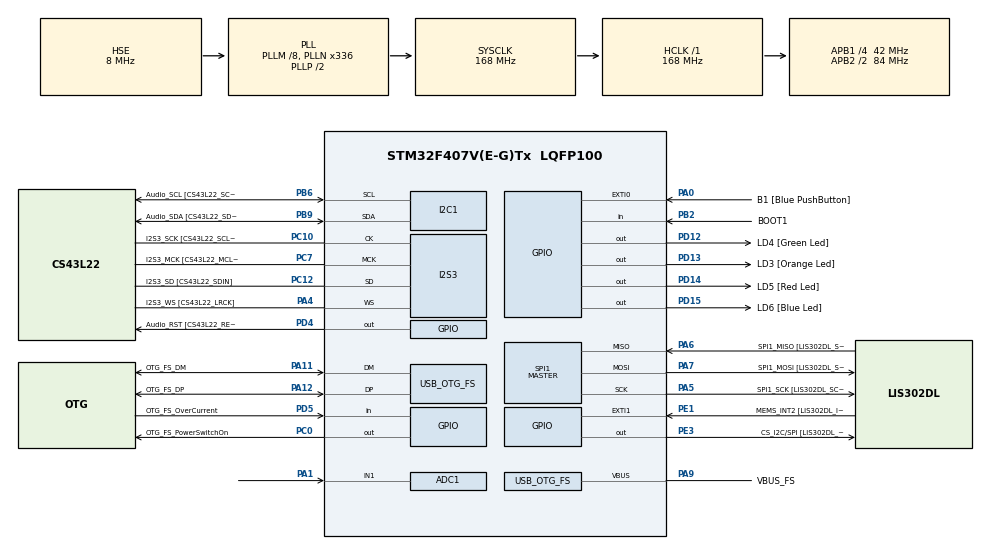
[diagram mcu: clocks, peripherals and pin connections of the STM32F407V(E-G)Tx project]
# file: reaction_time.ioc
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ADC1.Channel-0\#ChannelRegularConversion=ADC_CHANNEL_1
ADC1.NbrOfConversionFlag=1
ADC1.Rank-0\#ChannelRegularConversion=1
ADC1.SamplingTime-0\#ChannelRegularConversion=ADC_SAMPLETIME_3CYCLES
ADC1.master=1
I2S3.AudioFreq-Half_Duplex_Master=I2S_AUDIOFREQ_96K
I2S3.ErrorAudioFreq=-2.34 %
I2S3.ErrorAudioFreq-Half_Duplex_Master=0.8 %
I2S3.FullDuplexMode=I2S_FULLDUPLEXMODE_DISABLE
I2S3.Instance=SPI$Index
I2S3.RealAudioFreq=93.75 KHz
I2S3.RealAudioFreq-Half_Duplex_Master=96.774 KHz
I2S3.VirtualMode=I2S_MODE_MASTER
Mcu.Family=STM32F4
Mcu.Name=STM32F407V(E-G)Tx
Mcu.Package=LQFP100
NVIC.EXTI0_IRQn=true\:0\:0\:false\:false\:true\:true\:true\:true
NVIC.OTG_FS_IRQn=true\:0\:0\:false\:false\:true\:true\:true\:true
NVIC.PriorityGroup=NVIC_PRIORITYGROUP_0
PA0-WKUP.GPIO_Label=B1 [Blue PushButton]
PA0-WKUP.GPIO_ModeDefaultEXTI=GPIO_MODE_IT_RISING
PA0-WKUP.GPIO_PuPd=GPIO_NOPULL
PA0-WKUP.Signal=GPXTI0
PA1.Signal=ADCx_IN1
PA10.GPIO_Label=OTG_FS_ID
PA10.GPIO_Mode=GPIO_MODE_AF_PP
PA10.GPIO_PuPd=GPIO_NOPULL
PA10.GPIO_Speed=GPIO_SPEED_FREQ_LOW
PA10.Signal=USB_OTG_FS_ID
PA11.GPIO_Label=OTG_FS_DM
PA11.GPIO_Mode=GPIO_MODE_AF_PP
PA11.GPIO_PuPd=GPIO_NOPULL
PA11.GPIO_Speed=GPIO_SPEED_FREQ_LOW
PA11.Mode=Host_Only
PA11.Signal=USB_OTG_FS_DM
PA12.GPIO_Label=OTG_FS_DP
PA12.GPIO_Mode=GPIO_MODE_AF_PP
PA12.GPIO_PuPd=GPIO_NOPULL
PA12.GPIO_Speed=GPIO_SPEED_FREQ_LOW
PA12.Mode=Host_Only
PA12.Signal=USB_OTG_FS_DP
PA13.GPIO_Label=SWDIO
PA13.Mode=Serial_Wire
PA13.Signal=SYS_JTMS-SWDIO
PA14.GPIO_Label=SWCLK
PA14.Mode=Serial_Wire
PA14.Signal=SYS_JTCK-SWCLK
PA4.GPIO_Label=I2S3_WS [CS43L22_LRCK]
PA4.GPIO_Mode=GPIO_MODE_AF_PP
PA4.GPIO_PuPd=GPIO_NOPULL
PA4.GPIO_Speed=GPIO_SPEED_FREQ_LOW
PA4.Mode=Half_Duplex_Master
PA4.Signal=I2S3_WS
PA5.GPIO_Label=SPI1_SCK [LIS302DL_SCL/SPC]
PA5.GPIO_Mode=GPIO_MODE_AF_PP
PA5.GPIO_PuPd=GPIO_NOPULL
PA5.GPIO_Speed=GPIO_SPEED_FREQ_LOW
PA5.Mode=Full_Duplex_Master
PA5.Signal=SPI1_SCK
PA6.GPIO_Label=SPI1_MISO [LIS302DL_SDO]
PA6.GPIO_Mode=GPIO_MODE_AF_PP
PA6.GPIO_PuPd=GPIO_NOPULL
PA6.GPIO_Speed=GPIO_SPEED_FREQ_LOW
PA6.Mode=Full_Duplex_Master
PA6.Signal=SPI1_MISO
PA7.GPIO_Label=SPI1_MOSI [LIS302DL_SDA/SDI/SDO]
PA7.GPIO_Mode=GPIO_MODE_AF_PP
PA7.GPIO_PuPd=GPIO_NOPULL
PA7.GPIO_Speed=GPIO_SPEED_FREQ_LOW
PA7.Mode=Full_Duplex_Master
PA7.Signal=SPI1_MOSI
PA9.GPIO_Label=VBUS_FS
PA9.GPIO_Mode=GPIO_MODE_INPUT
PA9.GPIO_PuPd=GPIO_NOPULL
PA9.Mode=Activate_VBUS
PA9.Signal=USB_OTG_FS_VBUS
PB10.GPIO_Label=CLK_IN [MP45DT02_CLK]
PB10.GPIO_Mode=GPIO_MODE_AF_PP
PB10.GPIO_PuPd=GPIO_NOPULL
PB10.GPIO_Speed=GPIO_SPEED_FREQ_LOW
PB10.Signal=I2S2_CK
PB2.GPIO_Label=BOOT1
PB2.GPIO_Mode=GPIO_MODE_INPUT
PB2.GPIO_PuPd=GPIO_NOPULL
PB2.Signal=GPIO_Input
PB3.GPIO_Label=SWO
PB3.Signal=SYS_JTDO-SWO
PB6.GPIO_Label=Audio_SCL [CS43L22_SCL]
PB6.GPIO_Mode=GPIO_MODE_AF_OD
PB6.GPIO_Pu=GPIO_PULLUP
PB6.GPIO_PuPd=GPIO_NOPULL
PB6.GPIO_Speed=GPIO_SPEED_FREQ_LOW
PB6.Mode=I2C
PB6.Signal=I2C1_SCL
PB9.GPIO_Label=Audio_SDA [CS43L22_SDA]
PB9.GPIO_Mode=GPIO_MODE_AF_OD
PB9.GPIO_Pu=GPIO_PULLUP
PB9.GPIO_PuPd=GPIO_NOPULL
PB9.GPIO_Speed=GPIO_SPEED_FREQ_LOW
PB9.Mode=I2C
PB9.Signal=I2C1_SDA
PC0.GPIO_Label=OTG_FS_PowerSwitchOn
PC0.GPIO_PuPd=GPIO_NOPULL
PC0.GPIO_Speed=GPIO_SPEED_FREQ_LOW
PC0.PinState=GPIO_PIN_SET
PC0.Signal=GPIO_Output
PC10.GPIO_Label=I2S3_SCK [CS43L22_SCLK]
PC10.GPIO_Mode=GPIO_MODE_AF_PP
PC10.GPIO_PuPd=GPIO_NOPULL
PC10.GPIO_Speed=GPIO_SPEED_FREQ_LOW
PC10.Mode=Half_Duplex_Master
PC10.Signal=I2S3_CK
PC12.GPIO_Label=I2S3_SD [CS43L22_SDIN]
PC12.GPIO_Mode=GPIO_MODE_AF_PP
PC12.GPIO_PuPd=GPIO_NOPULL
PC12.GPIO_Speed=GPIO_SPEED_FREQ_LOW
PC12.Mode=Half_Duplex_Master
PC12.Signal=I2S3_SD
PC14-OSC32_IN.GPIO_Label=PC14-OSC32_IN
PC14-OSC32_IN.Mode=LSE-External-Oscillator
PC14-OSC32_IN.Signal=RCC_OSC32_IN
PC15-OSC32_OUT.GPIO_Label=PC15-OSC32_OUT
PC15-OSC32_OUT.Mode=LSE-External-Oscillator
PC15-OSC32_OUT.Signal=RCC_OSC32_OUT
PC3.GPIO_Label=PDM_OUT [MP45DT02_DOUT]
PC3.GPIO_Mode=GPIO_MODE_AF_PP
PC3.GPIO_PuPd=GPIO_NOPULL
PC3.GPIO_Speed=GPIO_SPEED_FREQ_LOW
PC3.Signal=I2S2_SD
PC7.GPIO_Label=I2S3_MCK [CS43L22_MCLK]
PC7.GPIO_Mode=GPIO_MODE_AF_PP
PC7.GPIO_PuPd=GPIO_NOPULL
PC7.GPIO_Speed=GPIO_SPEED_FREQ_LOW
PC7.Mode=Master_Clock_Activated
PC7.Signal=I2S3_MCK
PD12.GPIO_Label=LD4 [Green Led]
PD12.GPIO_PuPd=GPIO_NOPULL
PD12.GPIO_Speed=GPIO_SPEED_FREQ_LOW
PD12.Signal=GPIO_Output
PD13.GPIO_Label=LD3 [Orange Led]
PD13.GPIO_PuPd=GPIO_NOPULL
PD13.GPIO_Speed=GPIO_SPEED_FREQ_LOW
PD13.Signal=GPIO_Output
PD14.GPIO_Label=LD5 [Red Led]
PD14.GPIO_PuPd=GPIO_NOPULL
PD14.GPIO_Speed=GPIO_SPEED_FREQ_LOW
PD14.Signal=GPIO_Output
PD15.GPIO_Label=LD6 [Blue Led]
PD15.GPIO_PuPd=GPIO_NOPULL
PD15.GPIO_Speed=GPIO_SPEED_FREQ_LOW
PD15.Signal=GPIO_Output
PD4.GPIO_Label=Audio_RST [CS43L22_RESET]
PD4.GPIO_PuPd=GPIO_NOPULL
PD4.GPIO_Speed=GPIO_SPEED_FREQ_LOW
PD4.Signal=GPIO_Output
PD5.GPIO_Label=OTG_FS_OverCurrent
PD5.GPIO_Mode=GPIO_MODE_INPUT
PD5.GPIO_PuPd=GPIO_NOPULL
PD5.Signal=GPIO_Input
PE1.GPIO_Label=MEMS_INT2 [LIS302DL_INT2]
PE1.GPIO_ModeDefaultEXTI=GPIO_MODE_EVT_RISING
PE1.GPIO_PuPd=GPIO_NOPULL
PE1.Signal=GPXTI1
PE3.GPIO_Label=CS_I2C/SPI [LIS302DL_CS_I2C/SPI]
PE3.GPIO_PuPd=GPIO_NOPULL
PE3.GPIO_Speed=GPIO_SPEED_FREQ_LOW
PE3.Signal=GPIO_Output
PH0-OSC_IN.GPIO_Label=PH0-OSC_IN
PH0-OSC_IN.Mode=HSE-External-Oscillator
PH0-OSC_IN.Signal=RCC_OSC_IN
PH1-OSC_OUT.GPIO_Label=PH1-OSC_OUT
PH1-OSC_OUT.Mode=HSE-External-Oscillator
PH1-OSC_OUT.Signal=RCC_OSC_OUT
ProjectManager.HeapSize=0x200
ProjectManager.StackSize=0x400
ProjectManager.TargetToolchain=STM32CubeIDE
RCC.48MHZClocksFreq_Value=48000000
RCC.AHBFreq_Value=168000000
RCC.APB1CLKDivider=RCC_HCLK_DIV4
RCC.APB1Freq_Value=42000000
RCC.APB1TimFreq_Value=84000000
RCC.APB2CLKDivider=RCC_HCLK_DIV2
RCC.APB2Freq_Value=84000000
RCC.APB2TimFreq_Value=168000000
RCC.CortexFreq_Value=168000000
RCC.HCLKFreq_Value=168000000
RCC.HSE_VALUE=8000000
RCC.HSI_VALUE=16000000
RCC.PLLM=8
RCC.PLLN=336
RCC.PLLQ=7
RCC.SYSCLKFreq_VALUE=168000000
RCC.SYSCLKSource=RCC_SYSCLKSOURCE_PLLCLK
RCC.VCOOutputFreq_Value=336000000
SH.ADCx_IN1.0=ADC1_IN1,IN1
SPI1.BaudRatePrescaler-Full_Duplex_Master=SPI_BAUDRATEPRESCALER_2
SPI1.CalculateBaudRate-Full_Duplex_Master=42.0 MBits/s
SPI1.Direction=SPI_DIRECTION_2LINES
SPI1.Mode=SPI_MODE_MASTER
SPI1.Mode-Full_Duplex_Master=SPI_MODE_MASTER
SPI1.VirtualType=VM_MASTER
USB_HOST.BSP.number=1
USB_HOST.USBH_HandleTypeDef-CDC_FS=hUsbHostFS
USB_HOST.VirtualModeFS=Cdc
USB_HOST0.BSP.STBoard=false
USB_HOST0.BSP.api=Unknown
USB_HOST0.BSP.instance=PC0
USB_HOST0.BSP.ip=GPIO
USB_HOST0.BSP.mode=Output
USB_HOST0.BSP.name=Drive_VBUS_FS
USB_HOST0.BSP.solution=PC0
USB_OTG_FS.VirtualMode=Host_Only
USB_OTG_FS.phy_itface=HCD_PHY_EMBEDDED
VP_USB_HOST_VS_USB_HOST_CDC_FS.Mode=CDC_FS
board=STM32F407G-DISC1

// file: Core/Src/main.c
/* USER CODE BEGIN Header */
/**
  ******************************************************************************
  * @file           : main.c
  * @brief          : Main program body
  ******************************************************************************
  * @attention
  *
  * Copyright (c) 2026 STMicroelectronics.
  * All rights reserved.
  *
  * This software is licensed under terms that can be found in the LICENSE file
  * in the root directory of this software component.
  * If no LICENSE file comes with this software, it is provided AS-IS.
  *
  ******************************************************************************
  */
/* USER CODE END Header */
#include "main.h"
#include "usb_host.h"

ADC_HandleTypeDef hadc1;

I2C_HandleTypeDef hi2c1;

I2S_HandleTypeDef hi2s3;

SPI_HandleTypeDef hspi1;

/* USER CODE BEGIN PV */

volatile uint8_t pressed = 0;

/* USER CODE END PV */

void SystemClock_Config(void);
static void MX_GPIO_Init(void);
static void MX_I2C1_Init(void);
static void MX_I2S3_Init(void);
static void MX_SPI1_Init(void);
static void MX_ADC1_Init(void);
void MX_USB_HOST_Process(void);

int main(void)
{

  /* MCU Configuration--------------------------------------------------------*/

  /* Reset of all peripherals, Initializes the Flash interface and the Systick. */
  HAL_Init();

  /* Configure the system clock */
  SystemClock_Config();

  /* Initialize all configured peripherals */
  MX_GPIO_Init();
  MX_I2C1_Init();
  MX_I2S3_Init();
  MX_SPI1_Init();
  MX_USB_HOST_Init();
  MX_ADC1_Init();
  /* USER CODE BEGIN 2 */

  uint32_t random_seed = 0;
  for(int i = 0; i < 32; i++){
	  HAL_ADC_Start(&hadc1);
	  HAL_ADC_PollForConversion(&hadc1, 1000);
	  uint32_t val = HAL_ADC_GetValue(&hadc1);

	  random_seed |= (val & 1) << i;
  }

  // Window of 2^12 (4096ms) starting at min of 2 seconds
  uint32_t delay = (random_seed & ((1 << 12) - 1)) + 2000;

  uint32_t start_time = HAL_GetTick();
  uint32_t led_on_tick = 0;

  uint8_t first_press = 1;
  volatile uint32_t reaction_time = 0;

  /* USER CODE END 2 */

  /* Infinite loop */
  while (1)
  {
    MX_USB_HOST_Process();

    /* USER CODE BEGIN 3 */
    uint32_t tick = HAL_GetTick();
    if(tick - start_time < delay) continue;

    if(led_on_tick == 0){
        HAL_GPIO_WritePin(LD3_GPIO_Port, LD3_Pin, 1);
    	led_on_tick = tick;
    }

    if(first_press && pressed){
    	first_press = 0;
    	reaction_time = tick - led_on_tick;
    }
  }
  /* USER CODE END 3 */
}

void SystemClock_Config(void)
{
  RCC_OscInitTypeDef RCC_OscInitStruct = {0};
  RCC_ClkInitTypeDef RCC_ClkInitStruct = {0};

  /** Configure the main internal regulator output voltage
  */
  __HAL_RCC_PWR_CLK_ENABLE();
  __HAL_PWR_VOLTAGESCALING_CONFIG(PWR_REGULATOR_VOLTAGE_SCALE1);

  /** Initializes the RCC Oscillators according to the specified parameters
  * in the RCC_OscInitTypeDef structure.
  */
  RCC_OscInitStruct.OscillatorType = RCC_OSCILLATORTYPE_HSE;
  RCC_OscInitStruct.HSEState = RCC_HSE_ON;
  RCC_OscInitStruct.PLL.PLLState = RCC_PLL_ON;
  RCC_OscInitStruct.PLL.PLLSource = RCC_PLLSOURCE_HSE;
  RCC_OscInitStruct.PLL.PLLM = 8;
  RCC_OscInitStruct.PLL.PLLN = 336;
  RCC_OscInitStruct.PLL.PLLP = RCC_PLLP_DIV2;
  RCC_OscInitStruct.PLL.PLLQ = 7;
  if (HAL_RCC_OscConfig(&RCC_OscInitStruct) != HAL_OK)
  {
    Error_Handler();
  }

  /** Initializes the CPU, AHB and APB buses clocks
  */
  RCC_ClkInitStruct.ClockType = RCC_CLOCKTYPE_HCLK|RCC_CLOCKTYPE_SYSCLK
                              |RCC_CLOCKTYPE_PCLK1|RCC_CLOCKTYPE_PCLK2;
  RCC_ClkInitStruct.SYSCLKSource = RCC_SYSCLKSOURCE_PLLCLK;
  RCC_ClkInitStruct.AHBCLKDivider = RCC_SYSCLK_DIV1;
  RCC_ClkInitStruct.APB1CLKDivider = RCC_HCLK_DIV4;
  RCC_ClkInitStruct.APB2CLKDivider = RCC_HCLK_DIV2;

  if (HAL_RCC_ClockConfig(&RCC_ClkInitStruct, FLASH_LATENCY_5) != HAL_OK)
  {
    Error_Handler();
  }
}

static void MX_ADC1_Init(void)
{

  ADC_ChannelConfTypeDef sConfig = {0};

  /** Configure the global features of the ADC (Clock, Resolution, Data Alignment and number of conversion)
  */
  hadc1.Instance = ADC1;
  hadc1.Init.ClockPrescaler = ADC_CLOCK_SYNC_PCLK_DIV4;
  hadc1.Init.Resolution = ADC_RESOLUTION_12B;
  hadc1.Init.ScanConvMode = DISABLE;
  hadc1.Init.ContinuousConvMode = DISABLE;
  hadc1.Init.DiscontinuousConvMode = DISABLE;
  hadc1.Init.ExternalTrigConvEdge = ADC_EXTERNALTRIGCONVEDGE_NONE;
  hadc1.Init.ExternalTrigConv = ADC_SOFTWARE_START;
  hadc1.Init.DataAlign = ADC_DATAALIGN_RIGHT;
  hadc1.Init.NbrOfConversion = 1;
  hadc1.Init.DMAContinuousRequests = DISABLE;
  hadc1.Init.EOCSelection = ADC_EOC_SINGLE_CONV;
  if (HAL_ADC_Init(&hadc1) != HAL_OK)
  {
    Error_Handler();
  }

  /** Configure for the selected ADC regular channel its corresponding rank in the sequencer and its sample time.
  */
  sConfig.Channel = ADC_CHANNEL_1;
  sConfig.Rank = 1;
  sConfig.SamplingTime = ADC_SAMPLETIME_3CYCLES;
  if (HAL_ADC_ConfigChannel(&hadc1, &sConfig) != HAL_OK)
  {
    Error_Handler();
  }

}

static void MX_I2C1_Init(void)
{

  hi2c1.Instance = I2C1;
  hi2c1.Init.ClockSpeed = 100000;
  hi2c1.Init.DutyCycle = I2C_DUTYCYCLE_2;
  hi2c1.Init.OwnAddress1 = 0;
  hi2c1.Init.AddressingMode = I2C_ADDRESSINGMODE_7BIT;
  hi2c1.Init.DualAddressMode = I2C_DUALADDRESS_DISABLE;
  hi2c1.Init.OwnAddress2 = 0;
  hi2c1.Init.GeneralCallMode = I2C_GENERALCALL_DISABLE;
  hi2c1.Init.NoStretchMode = I2C_NOSTRETCH_DISABLE;
  if (HAL_I2C_Init(&hi2c1) != HAL_OK)
  {
    Error_Handler();
  }

}

static void MX_I2S3_Init(void)
{

  hi2s3.Instance = SPI3;
  hi2s3.Init.Mode = I2S_MODE_MASTER_TX;
  hi2s3.Init.Standard = I2S_STANDARD_PHILIPS;
  hi2s3.Init.DataFormat = I2S_DATAFORMAT_16B;
  hi2s3.Init.MCLKOutput = I2S_MCLKOUTPUT_ENABLE;
  hi2s3.Init.AudioFreq = I2S_AUDIOFREQ_96K;
  hi2s3.Init.CPOL = I2S_CPOL_LOW;
  hi2s3.Init.ClockSource = I2S_CLOCK_PLL;
  hi2s3.Init.FullDuplexMode = I2S_FULLDUPLEXMODE_DISABLE;
  if (HAL_I2S_Init(&hi2s3) != HAL_OK)
  {
    Error_Handler();
  }

}

static void MX_SPI1_Init(void)
{

  /* SPI1 parameter configuration*/
  hspi1.Instance = SPI1;
  hspi1.Init.Mode = SPI_MODE_MASTER;
  hspi1.Init.Direction = SPI_DIRECTION_2LINES;
  hspi1.Init.DataSize = SPI_DATASIZE_8BIT;
  hspi1.Init.CLKPolarity = SPI_POLARITY_LOW;
  hspi1.Init.CLKPhase = SPI_PHASE_1EDGE;
  hspi1.Init.NSS = SPI_NSS_SOFT;
  hspi1.Init.BaudRatePrescaler = SPI_BAUDRATEPRESCALER_2;
  hspi1.Init.FirstBit = SPI_FIRSTBIT_MSB;
  hspi1.Init.TIMode = SPI_TIMODE_DISABLE;
  hspi1.Init.CRCCalculation = SPI_CRCCALCULATION_DISABLE;
  hspi1.Init.CRCPolynomial = 10;
  if (HAL_SPI_Init(&hspi1) != HAL_OK)
  {
    Error_Handler();
  }

}

static void MX_GPIO_Init(void)
{
  GPIO_InitTypeDef GPIO_InitStruct = {0};

  /* GPIO Ports Clock Enable */
  __HAL_RCC_GPIOE_CLK_ENABLE();
  __HAL_RCC_GPIOC_CLK_ENABLE();
  __HAL_RCC_GPIOH_CLK_ENABLE();
  __HAL_RCC_GPIOA_CLK_ENABLE();
  __HAL_RCC_GPIOB_CLK_ENABLE();
  __HAL_RCC_GPIOD_CLK_ENABLE();

  /*Configure GPIO pin Output Level */
  HAL_GPIO_WritePin(CS_I2C_SPI_GPIO_Port, CS_I2C_SPI_Pin, GPIO_PIN_RESET);

  /*Configure GPIO pin Output Level */
  HAL_GPIO_WritePin(OTG_FS_PowerSwitchOn_GPIO_Port, OTG_FS_PowerSwitchOn_Pin, GPIO_PIN_SET);

  /*Configure GPIO pin Output Level */
  HAL_GPIO_WritePin(GPIOD, LD4_Pin|LD3_Pin|LD5_Pin|LD6_Pin
                          |Audio_RST_Pin, GPIO_PIN_RESET);

  /*Configure GPIO pin : CS_I2C_SPI_Pin */
  GPIO_InitStruct.Pin = CS_I2C_SPI_Pin;
  GPIO_InitStruct.Mode = GPIO_MODE_OUTPUT_PP;
  GPIO_InitStruct.Pull = GPIO_NOPULL;
  GPIO_InitStruct.Speed = GPIO_SPEED_FREQ_LOW;
  HAL_GPIO_Init(CS_I2C_SPI_GPIO_Port, &GPIO_InitStruct);

  /*Configure GPIO pin : OTG_FS_PowerSwitchOn_Pin */
  GPIO_InitStruct.Pin = OTG_FS_PowerSwitchOn_Pin;
  GPIO_InitStruct.Mode = GPIO_MODE_OUTPUT_PP;
  GPIO_InitStruct.Pull = GPIO_NOPULL;
  GPIO_InitStruct.Speed = GPIO_SPEED_FREQ_LOW;
  HAL_GPIO_Init(OTG_FS_PowerSwitchOn_GPIO_Port, &GPIO_InitStruct);

  /*Configure GPIO pin : PDM_OUT_Pin */
  GPIO_InitStruct.Pin = PDM_OUT_Pin;
  GPIO_InitStruct.Mode = GPIO_MODE_AF_PP;
  GPIO_InitStruct.Pull = GPIO_NOPULL;
  GPIO_InitStruct.Speed = GPIO_SPEED_FREQ_LOW;
  GPIO_InitStruct.Alternate = GPIO_AF5_SPI2;
  HAL_GPIO_Init(PDM_OUT_GPIO_Port, &GPIO_InitStruct);

  /*Configure GPIO pin : B1_Pin */
  GPIO_InitStruct.Pin = B1_Pin;
  GPIO_InitStruct.Mode = GPIO_MODE_IT_RISING;
  GPIO_InitStruct.Pull = GPIO_NOPULL;
  HAL_GPIO_Init(B1_GPIO_Port, &GPIO_InitStruct);

  /*Configure GPIO pin : BOOT1_Pin */
  GPIO_InitStruct.Pin = BOOT1_Pin;
  GPIO_InitStruct.Mode = GPIO_MODE_INPUT;
  GPIO_InitStruct.Pull = GPIO_NOPULL;
  HAL_GPIO_Init(BOOT1_GPIO_Port, &GPIO_InitStruct);

  /*Configure GPIO pin : CLK_IN_Pin */
  GPIO_InitStruct.Pin = CLK_IN_Pin;
  GPIO_InitStruct.Mode = GPIO_MODE_AF_PP;
  GPIO_InitStruct.Pull = GPIO_NOPULL;
  GPIO_InitStruct.Speed = GPIO_SPEED_FREQ_LOW;
  GPIO_InitStruct.Alternate = GPIO_AF5_SPI2;
  HAL_GPIO_Init(CLK_IN_GPIO_Port, &GPIO_InitStruct);

  /*Configure GPIO pins : LD4_Pin LD3_Pin LD5_Pin LD6_Pin
                           Audio_RST_Pin */
  GPIO_InitStruct.Pin = LD4_Pin|LD3_Pin|LD5_Pin|LD6_Pin
                          |Audio_RST_Pin;
  GPIO_InitStruct.Mode = GPIO_MODE_OUTPUT_PP;
  GPIO_InitStruct.Pull = GPIO_NOPULL;
  GPIO_InitStruct.Speed = GPIO_SPEED_FREQ_LOW;
  HAL_GPIO_Init(GPIOD, &GPIO_InitStruct);

  /*Configure GPIO pin : OTG_FS_OverCurrent_Pin */
  GPIO_InitStruct.Pin = OTG_FS_OverCurrent_Pin;
  GPIO_InitStruct.Mode = GPIO_MODE_INPUT;
  GPIO_InitStruct.Pull = GPIO_NOPULL;
  HAL_GPIO_Init(OTG_FS_OverCurrent_GPIO_Port, &GPIO_InitStruct);

  /*Configure GPIO pin : MEMS_INT2_Pin */
  GPIO_InitStruct.Pin = MEMS_INT2_Pin;
  GPIO_InitStruct.Mode = GPIO_MODE_EVT_RISING;
  GPIO_InitStruct.Pull = GPIO_NOPULL;
  HAL_GPIO_Init(MEMS_INT2_GPIO_Port, &GPIO_InitStruct);

  /* EXTI interrupt init*/
  HAL_NVIC_SetPriority(EXTI0_IRQn, 0, 0);
  HAL_NVIC_EnableIRQ(EXTI0_IRQn);

}

/* USER CODE BEGIN 4 */

void HAL_GPIO_EXTI_Callback(uint16_t GPIO_Pin){
	pressed = 1;
}

/* USER CODE END 4 */

void Error_Handler(void)
{
  __disable_irq();
  while (1)
  {
  }
}
